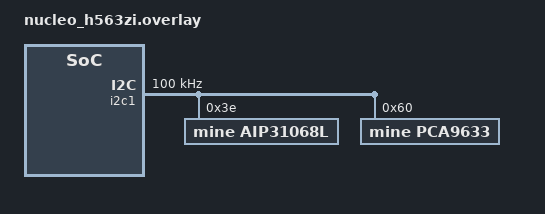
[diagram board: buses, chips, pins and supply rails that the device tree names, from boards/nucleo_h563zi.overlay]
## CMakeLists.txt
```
# SPDX-License-Identifier: Apache-2.0

cmake_minimum_required(VERSION 3.20.0)
find_package(Zephyr REQUIRED HINTS $ENV{ZEPHYR_BASE})
project(blinky)

target_sources(app PRIVATE src/aip31068l.c src/pca9633.c src/main.c)
```

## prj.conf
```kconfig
CONFIG_GPIO=y
CONFIG_LOG=y
CONFIG_LOG_MODE_IMMEDIATE=y # Disable log bufferring
CONFIG_CBPRINTF_FP_SUPPORT=y # Add floating point support to printf
CONFIG_I2C_LOG_LEVEL_DBG=y
CONFIG_I2C_DUMP_MESSAGES=y
CONFIG_I2C=y
```

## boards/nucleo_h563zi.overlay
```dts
#include <zephyr/dt-bindings/pinctrl/stm32f1-pinctrl.h>
#include <zephyr/dt-bindings/pinctrl/stm32-pinctrl.h>
#include <zephyr/dt-bindings/gpio/gpio.h>
#include <zephyr/dt-bindings/i2c/i2c.h>

/ {
    aliases {
            yled = &yellow_led_1;
            gled = &green_led_1;
            rled = &red_led_1;
    };
};

&i2c1 {
	status = "okay";
    compatible = "st,stm32-i2c-v2";
    clock-frequency = <I2C_BITRATE_STANDARD>;

	aip31068l: aip31068l@3e {
        status = "okay";
		compatible = "mine,aip31068l";
		reg = <0x3e>;
		cursor = <0>;
		blink = <0>;
    };

	pca9633: pca9633@60 {
        status = "okay";
		compatible = "mine,pca9633";
		reg = <0x60>;
    };
};
```

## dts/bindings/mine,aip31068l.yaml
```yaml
# Copyright (c) 2018, Linaro Limited
# SPDX-License-Identifier: Apache-2.0

description: |
  Characters display controller

compatible: "mine,aip31068l"

include: [i2c-device.yaml]

properties:
    cursor:
        type: int
        default: 0
        description: |
            Cursor will appear as an underscore.

    blink:
        type: int
        default: 0
        description: |
            Text blink
```

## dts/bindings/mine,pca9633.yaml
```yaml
# Copyright (c) 2018, Linaro Limited
# SPDX-License-Identifier: Apache-2.0

description: |
  RGB backlight controller

compatible: "mine,pca9633"

include: ["i2c-device.yaml", "base.yaml"]
```

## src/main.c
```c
/*
 * Copyright (c) 2016 Intel Corporation
 *
 * SPDX-License-Identifier: Apache-2.0
 */

#include <stdio.h>
#include <zephyr/kernel.h>
#include <zephyr/device.h>
#include <zephyr/drivers/gpio.h>
#include <zephyr/drivers/sensor.h>
#include <zephyr/sys/util.h>

#include "pca9633.h"
#include "aip31068l.h"

/* 1000 msec = 1 sec */
#define SLEEP_TIME_MS   200

static const struct gpio_dt_spec red_led = GPIO_DT_SPEC_GET(DT_ALIAS(rled), gpios);
static const struct gpio_dt_spec yellow_led = GPIO_DT_SPEC_GET(DT_ALIAS(yled), gpios);
static const struct gpio_dt_spec green_led = GPIO_DT_SPEC_GET(DT_ALIAS(gled), gpios);

#define DEFAULT_DT_SPEC  {0}

int putstr(const struct device *const charcontroller, char *str)
{
    int r = 0;
    for (int i = 0; str[i] != 0 && r == 0; i++) {
        r = aip31068l_putc(charcontroller, str[i]);
    }
    return r;
}

int main(void)
{
    printk("#### Hello from i2c test app ! ####\n");
    if (!gpio_is_ready_dt(&red_led)
            || !gpio_is_ready_dt(&green_led)
            || !gpio_is_ready_dt(&yellow_led)) {
        return 0;
    }

    const struct device *const backlight = DEVICE_DT_GET_ANY(mine_pca9633);
    if (!device_is_ready(backlight)) {
        printk("Device %s is not ready\n", backlight->name);
        return 0;
    }
    pca9633_configure(backlight);
    const struct device *const charcontroller = DEVICE_DT_GET_ANY(mine_aip31068l);
    if (!device_is_ready(charcontroller)) {
        printk("Device %s is not ready\n", charcontroller->name);
        return 0;
    }

    if (gpio_pin_configure_dt(&red_led, GPIO_OUTPUT_ACTIVE) < 0
            || gpio_pin_configure_dt(&yellow_led, GPIO_OUTPUT_ACTIVE) < 0
            || gpio_pin_configure_dt(&green_led, GPIO_OUTPUT_ACTIVE) < 0) {
        return 0;
    }

    char *str = "Hello World !";
    // Last 3 bit are fully ignored
    uint8_t custom_char[8] = {
        0b11100000,
        0b11110001,
        0b11110001,
        0b11100000,
        0b11100000,
        0b11110001,
        0b11101110,
        0b11100000,
    };
    uint8_t custom_char_v2[8] = {
        0b11100100,
        0b11101010,
        0b11101010,
        0b11101010,
        0b11101010,
        0b11101010,
        0b11110101,
        0b11101010,
    };

    putstr(charcontroller, str);
    pca9633_set_rgb(backlight, 255, 0, 0);
    k_msleep(1000);
    aip31068l_cursor_home(charcontroller);
    k_msleep(1000);
    aip31068l_cursor_set(charcontroller, 5, 0);
    aip31068l_putc(charcontroller, '4');
    aip31068l_putc(charcontroller, '2');
    k_msleep(1000);
    aip31068l_cursor_set(charcontroller, 5, 1);
    aip31068l_putc(charcontroller, '4');
    aip31068l_putc(charcontroller, '2');
    k_msleep(1000);
    aip31068l_set_cg(charcontroller, 0, custom_char);
    aip31068l_putc(charcontroller, 0);
    k_msleep(1000);
    // aip31068l_cursor_set(charcontroller, 5, 0);
    // aip31068l_putc(charcontroller, 0);
    // aip31068l_putc(charcontroller, 0);
    // k_msleep(1000);
    // aip31068l_clear_screen(charcontroller);
    // k_msleep(1000);
    // aip31068l_cursor_set(charcontroller, 10, 0);
    // aip31068l_putc(charcontroller, 0);
    // k_msleep(1000);
    aip31068l_set_cg(charcontroller, 1, custom_char_v2);
    aip31068l_cursor_home(charcontroller);
    // There is 30 char space, so this string leave 4 space.
    putstr(charcontroller, "ABCDEFGHIJKLMNOPQRSTUVWXYZ0123456789");
    aip31068l_putc(charcontroller, 0);
    aip31068l_putc(charcontroller, 1);
    aip31068l_putc(charcontroller, 0);
    aip31068l_putc(charcontroller, 1);
    aip31068l_cursor_set(charcontroller, 5, 1);
    aip31068l_putc(charcontroller, 0);
    aip31068l_putc(charcontroller, 1);

    while (1) {
        gpio_pin_toggle_dt(&red_led);
        k_msleep(SLEEP_TIME_MS);
        gpio_pin_toggle_dt(&yellow_led);
        k_msleep(SLEEP_TIME_MS);
        gpio_pin_toggle_dt(&green_led);
        k_msleep(SLEEP_TIME_MS);
        aip31068l_display_shift(charcontroller, 1);
    }
    return 0;
}
```

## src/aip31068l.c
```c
#define DT_DRV_COMPAT mine_aip31068l

#include <zephyr/init.h>
#include <zephyr/sys/byteorder.h>
#include <zephyr/sys/__assert.h>
#include <zephyr/logging/log.h>
#include <zephyr/pm/device.h>

#include <zephyr/kernel.h>
#include <zephyr/device.h>
#include <zephyr/sys/util.h>
#include <stdint.h>
#include <zephyr/drivers/gpio.h>
#include <string.h>

#include <zephyr/drivers/i2c.h>

#include "aip31068l.h"

LOG_MODULE_REGISTER(aip31068l, CONFIG_I2C_LOG_LEVEL);

/*************************************/
/* Per-device configuration and data */
/*************************************/

struct aip31068l_config {
#if DT_ANY_INST_ON_BUS_STATUS_OKAY(i2c)
    struct i2c_dt_spec i2c_config;
#endif
    uint8_t cursor;
    uint8_t blink;
};

struct aip31068l_transfer_function {
    int (*read_reg)(const struct device *dev, uint8_t reg_addr,
            uint8_t *value);
    int (*write_reg)(const struct device *dev, uint8_t reg_addr,
            uint8_t value);
    int (*update_reg)(const struct device *dev, uint8_t reg_addr,
            uint8_t mask, uint8_t value);
};

struct aip31068l_data {
    const struct device *bus;
    const struct aip31068l_transfer_function *hw_tf;
    uint8_t cursor_pos;
};

/*************************************/
/* Hardware tranfert functions       */
/*************************************/

static int aip31068l_i2c_read_reg(const struct device *dev, uint8_t reg_addr,
        uint8_t *value)
{
    const struct aip31068l_config *cfg = dev->config;

    return i2c_reg_read_byte_dt(&cfg->i2c_config, reg_addr, value);
}

static int aip31068l_i2c_write_reg(const struct device *dev, uint8_t reg_addr,
        uint8_t value)
{
    const struct aip31068l_config *cfg = dev->config;
    uint8_t tx_buf[2] = {reg_addr, value};
    int r = i2c_write_dt(&cfg->i2c_config, tx_buf, 2);
    return r;
}

static int aip31068l_i2c_update_reg(const struct device *dev, uint8_t reg_addr,
        uint8_t mask, uint8_t value)
{
    const struct aip31068l_config *cfg = dev->config;

    return i2c_reg_update_byte_dt(&cfg->i2c_config, reg_addr, mask, value);
}

static const struct aip31068l_transfer_function aip31068l_i2c_transfer_fn = {
    .read_reg  = aip31068l_i2c_read_reg,
    .write_reg  = aip31068l_i2c_write_reg,
    .update_reg = aip31068l_i2c_update_reg,
};

/*************************************/
/* Driver functions                  */
/*************************************/

// TODO ALL PARAMETERS IN DTS
/* Init function called by zephyr driver init */
static int aip31068l_init(const struct device *dev)
{
    int r = 0;
    const struct aip31068l_config *cfg = dev->config;
    struct aip31068l_data *data = dev->data;

    if (!device_is_ready(cfg->i2c_config.bus)) {
        LOG_ERR("Bus device is not ready");
        r = -ENODEV;
    }
    if (r == 0) {
        data->hw_tf = &aip31068l_i2c_transfer_fn;

        // [0x7C 0x80 0x28] # Function set (2 rows)
        r = data->hw_tf->write_reg(dev, 0x80, 0x28);
    }
    if (r == 0) {
        // [0x7C 0x80 0x0C] # Display on
        // r = data->hw_tf->write_reg(dev, 0x80, 0x0C);
        // [0x7C 0x80 0x0E] # Display on with cursor
        LOG_DBG("Init display cursor=%d blink=%d", cfg->cursor, cfg->blink);
        uint8_t cmd = 0x0C;
        if (cfg->cursor)
            cmd |= 0x02;
        if (cfg->blink)
            cmd |= 0x01;
        r = data->hw_tf->write_reg(dev, 0x80, cmd);
    }
    if (r == 0) {
        // [0x7C 0x80 0x06] # Init text direction
        r = data->hw_tf->write_reg(dev, 0x80, 0x06);
    }
    if (r == 0) {
        // [0x7C 0x80 0x01] # Clear: write space everywhere and move cursor to origin position.
        r = data->hw_tf->write_reg(dev, 0x80, 0x01);
    }
    data->cursor_pos = 0;
    return (r);
}


/* Exported drivers functions  */

int aip31068l_putc(const struct device *dev, char c)
{
    struct aip31068l_data *data = dev->data;
    data->cursor_pos++;
    // [0x7C 0x40 0x42] # Write ASCII 0x42 in current position and move next char.
    return data->hw_tf->write_reg(dev, 0x40, (uint8_t)c);

}

static int aip31068l_restore_cursor(const struct device *dev)
{
    struct aip31068l_data *data = dev->data;
    uint8_t column = data->cursor_pos % 40;
    uint8_t row = (data->cursor_pos >= 40);
    data->cursor_pos = 0;
    return aip31068l_cursor_set(dev, column, row);
}

int aip31068l_clear_screen(const struct device *dev)
{
    struct aip31068l_data *data = dev->data;
    // [0x7C 0x80 0x01] # Clear: write space everywhere and move cursor to origin position.
    int r = data->hw_tf->write_reg(dev, 0x80, 0x01);

    if (r == 0) {
        r = aip31068l_restore_cursor(dev);
    }
    return (r);
}

int aip31068l_cursor_home(const struct device *dev)
{
    struct aip31068l_data *data = dev->data;
    data->cursor_pos = 0;
    // [0x7C 0x80 0x01] # Clear display: write space everywhere and move cursor to origin position.
    return (data->hw_tf->write_reg(dev, 0x80, 0x02));
}

int aip31068l_cursor_set(const struct device *dev, uint8_t column, uint8_t row)
{
    struct aip31068l_data *data = dev->data;
    int r = 0;
    uint8_t pos = 0;
    if (column > 15 || row > 1) {
        LOG_ERR("Invalid parameters column=%d, row=%d", pos, row);
        r = -EINVAL;
    }
    else {
        pos = column + row * 40;
    }
    while (data->cursor_pos < pos && r == 0) {
        // [0x7C 0x80 0x14] # Cursor or display shift, S/C=0, R/L=1, to the right
        r = data->hw_tf->write_reg(dev, 0x80, 0x14);
        data->cursor_pos++;
    }
    while (data->cursor_pos > pos && r == 0) {
        // [0x7C 0x80 0x10] # Cursor or display shift, S/C=0, R/L=0, to the left
        r = data->hw_tf->write_reg(dev, 0x80, 0x10);
        data->cursor_pos--;
    }
    return r;
}

int aip31068l_display_shift(const struct device *dev, int8_t column)
{
    int r = 0;
    struct aip31068l_data *data = dev->data;
    uint8_t shift = (column < 0 ? -column : column);

    for (int i = 0 ; i < shift && r == 0 ; i++) {
        // [0x7C 0x80 0x14] # Cursor or display shift, S/C=0, R/L=1, to the right
        uint8_t cmd = 0x18;
        if (column > 0) {
            cmd |= 0x4;
        }
        r = data->hw_tf->write_reg(dev, 0x80, cmd);
    }

    return (r);
}

int aip31068l_set_cg(const struct device *dev, uint8_t id, uint8_t *value)
{
    struct aip31068l_data *data = dev->data;
    int r = 0;
    if (id > 8) {
        LOG_ERR("Invalid parameters id=%d", id);
        r = -EINVAL;
    }
    if (r == 0) {
        // [0x7C 0x80 0x40] # Set CGRAM address for custom char 0
        // [0x7C 0x80 0x48] # Set CGRAM address for custom char 8
        r = data->hw_tf->write_reg(dev, 0x80, 0x40 | (id * 8));
    }
    for (int i = 0; i < 8 && r == 0 ; i++) {
        r = data->hw_tf->write_reg(dev, 0x40, value[i]);
    }
    if (r == 0) {
        // [0x7C 0x80 0x00] # Set DDRAM address 0
        // For 2 lines mode DDRAM addrs are 0x00-0x27 0x40-0x67
        uint8_t pos = (data->cursor_pos >= 40 ? 0x40 : 0) + data->cursor_pos % 40;
        r = data->hw_tf->write_reg(dev, 0x80, 0x80 | pos);
    }
    return r;
}

#define AIP31068L_INIT(i)   \
    static const struct aip31068l_config aip31068l_config_##i = { \
        .i2c_config = I2C_DT_SPEC_GET(DT_DRV_INST(i)),	\
        .cursor = DT_INST_PROP(i, cursor),	\
        .blink = DT_INST_PROP(i, blink),	\
    }; \
    static struct aip31068l_data aip31068l_data_##i; \
    DEVICE_DT_INST_DEFINE(i, \
            &aip31068l_init, \
            PM_DEVICE_DT_INST_GET(i), \
            &aip31068l_data_##i, \
            &aip31068l_config_##i, \
            POST_KERNEL, \
            CONFIG_I2C_INIT_PRIORITY, \
            NULL);

DT_INST_FOREACH_STATUS_OKAY(AIP31068L_INIT)
```

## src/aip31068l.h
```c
#ifndef AIP31068L_H
# define AIP31068L_H

/*
 ** @func aip31068l_putc
 ** @summary
 ** write a char at the current cursor place
 ** the cursor is then shift to the left (if direction shift is default).
 ** Char 0-7 is identifier for custom charactere in CGRAM
 */
int aip31068l_putc(const struct device *dev, char c);

/*
 ** @func aip31068l_cursor_set
 ** @summary
 ** set the cursor position to column - row.
 */
int aip31068l_cursor_set(const struct device *dev, uint8_t column, uint8_t row);

/*
 ** @func aip31068l_cursor_home
 ** @summary
 ** set the cursor position to home (0)
 */
int aip31068l_cursor_home(const struct device *dev);

/*
 ** @func aip31068l_set_cg
 ** @summary
 ** write into aip31068l CGRAM to store a custome char.
 ** The char is then writtable with aip31068l_putc(dev, id)
 ** Each char is a 8 bytes array. The 3 last bit is ignored for each char.
 ** For example the following array draw a smiley, we can see the pattern :
 ** uint8_t custom_char[8] = {
 **     0b11100000,
 **     0b11110001,
 **     0b11110001,
 **     0b11100000,
 **     0b11100000,
 **     0b11110001,
 **     0b11101110,
 **     0b11100000,
 ** };
 */
int aip31068l_set_cg(const struct device *dev, uint8_t id, uint8_t *value);

/*
 ** @func aip31068l_clear_screen
 ** @summary
 ** Clear the screen, BUT DO NOT move the cursor
 */
int aip31068l_clear_screen(const struct device *dev);

/*
 ** @func aip31068l_display_shift
 ** @summary
 ** Shift the display of n column. The sign of column define the direction.
 ** If column is positive column move on the left (common direction to display a msg to be read)
 ** Else column move on the right.
 */
int aip31068l_display_shift(const struct device *dev, int8_t column);

#endif /* AIP32068L_H */
```

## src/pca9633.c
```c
#define DT_DRV_COMPAT mine_pca9633

#include <zephyr/init.h>
#include <zephyr/sys/byteorder.h>
#include <zephyr/sys/__assert.h>
#include <zephyr/logging/log.h>
#include <zephyr/pm/device.h>

#include <zephyr/kernel.h>
#include <zephyr/device.h>
#include <zephyr/sys/util.h>
#include <stdint.h>
#include <zephyr/drivers/gpio.h>
#include <string.h>

#include <zephyr/drivers/i2c.h>

#include "pca9633.h"

LOG_MODULE_REGISTER(pca9633, CONFIG_I2C_LOG_LEVEL);

/*************************************/
/* Per-device configuration and data */
/*************************************/

struct pca9633_config {
#if DT_ANY_INST_ON_BUS_STATUS_OKAY(i2c)
    struct i2c_dt_spec i2c_config;
#endif
};

struct pca9633_transfer_function {
    int (*read_reg)(const struct device *dev, uint8_t reg_addr,
            uint8_t *value);
    int (*write_reg)(const struct device *dev, uint8_t reg_addr,
            uint8_t value);
    int (*update_reg)(const struct device *dev, uint8_t reg_addr,
            uint8_t mask, uint8_t value);
};

struct pca9633_data {
    const struct device *bus;
    const struct pca9633_transfer_function *hw_tf;
};

/*************************************/
/* Hardware tranfert functions       */
/*************************************/

static int pca9633_i2c_read_reg(const struct device *dev, uint8_t reg_addr,
        uint8_t *value)
{
    const struct pca9633_config *cfg = dev->config;

    return i2c_reg_read_byte_dt(&cfg->i2c_config, reg_addr, value);
}

static int pca9633_i2c_write_reg(const struct device *dev, uint8_t reg_addr,
        uint8_t value)
{
    const struct pca9633_config *cfg = dev->config;
    uint8_t tx_buf[2] = {reg_addr, value};
    int r = i2c_write_dt(&cfg->i2c_config, tx_buf, 2);
    return r;
}

static int pca9633_i2c_update_reg(const struct device *dev, uint8_t reg_addr,
        uint8_t mask, uint8_t value)
{
    const struct pca9633_config *cfg = dev->config;

    return i2c_reg_update_byte_dt(&cfg->i2c_config, reg_addr, mask, value);
}

static const struct pca9633_transfer_function pca9633_i2c_transfer_fn = {
    .read_reg  = pca9633_i2c_read_reg,
    .write_reg  = pca9633_i2c_write_reg,
    .update_reg = pca9633_i2c_update_reg,
};

/*************************************/
/* Driver functions                  */
/*************************************/

int pca9633_set_rgb(const struct device *dev,
        uint8_t r,
        uint8_t g,
        uint8_t b)
{
    int ret = 0;
    struct pca9633_data *data = dev->data;
    uint8_t REG_RED   =      0x04;
    uint8_t REG_GREEN =      0x03;
    uint8_t REG_BLUE  =      0x02;

    if ((ret = data->hw_tf->write_reg(dev, REG_RED, r)) != 0
            || (ret = data->hw_tf->write_reg(dev, REG_GREEN, g) != 0)
            || (ret = data->hw_tf->write_reg(dev, REG_BLUE, b)) != 0) {
        LOG_DBG("%s: Error: set color return %d", __func__, ret);
    }
    return ret;
}


static int pca9633_init(const struct device *dev)
{
    struct pca9633_data *data = dev->data;
    const struct pca9633_config *cfg = dev->config;

    if (!device_is_ready(cfg->i2c_config.bus)) {
        LOG_ERR("Bus device is not ready");
        return -ENODEV;
    }
    data->hw_tf = &pca9633_i2c_transfer_fn;

    return 0;
}

int pca9633_configure(const struct device *dev)
{
    int r = 0;
    struct pca9633_data *data = dev->data;

    // Set MODE1 values
    r = data->hw_tf->write_reg(dev, REG_MODE1, 0);
    LOG_DBG("%s: Set MODE1 return %d", __func__, r);

    // Set MODE2 values
    r = data->hw_tf->write_reg(dev, REG_MODE2, 0x20);
    LOG_DBG("%s: Set MODE2 return %d", __func__, r);

    // Set LEDs controllable by both PWM and GRPPWM registers
    r = data->hw_tf->write_reg(dev, REG_OUTPUT, 0xFF);
    LOG_DBG("%s: Set REG_OUTPUT return %d", __func__, r);

    r = pca9633_set_rgb(dev, 255, 255, 255);
    LOG_DBG("%s: Set RGB return %d", __func__, r);

    return (r);
}


#define PCA9633_INIT(i)   \
    static const struct pca9633_config pca9633_config_##i = { \
        .i2c_config = I2C_DT_SPEC_GET(DT_DRV_INST(i)),	\
    }; \
    static struct pca9633_data pca9633_data_##i; \
    DEVICE_DT_INST_DEFINE(i, \
            &pca9633_init, \
            PM_DEVICE_DT_INST_GET(i), \
            &pca9633_data_##i, \
            &pca9633_config_##i, \
            POST_KERNEL, \
            CONFIG_I2C_INIT_PRIORITY, \
            NULL);

DT_INST_FOREACH_STATUS_OKAY(PCA9633_INIT)
```

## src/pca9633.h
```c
#ifndef PCA9633_H
# define PCA9633_H

// 16 * 2 charactere screen
#define LCD_COLS        16
#define LCD_ROWS        2

#define REG_MODE1       0x00
#define REG_MODE2       0x01
#define REG_OUTPUT      0x08

int pca9633_configure(const struct device *dev);
int pca9633_set_rgb(const struct device *dev,
        uint8_t r,
        uint8_t g,
        uint8_t b);

#endif /* PCA9633_H */
```
